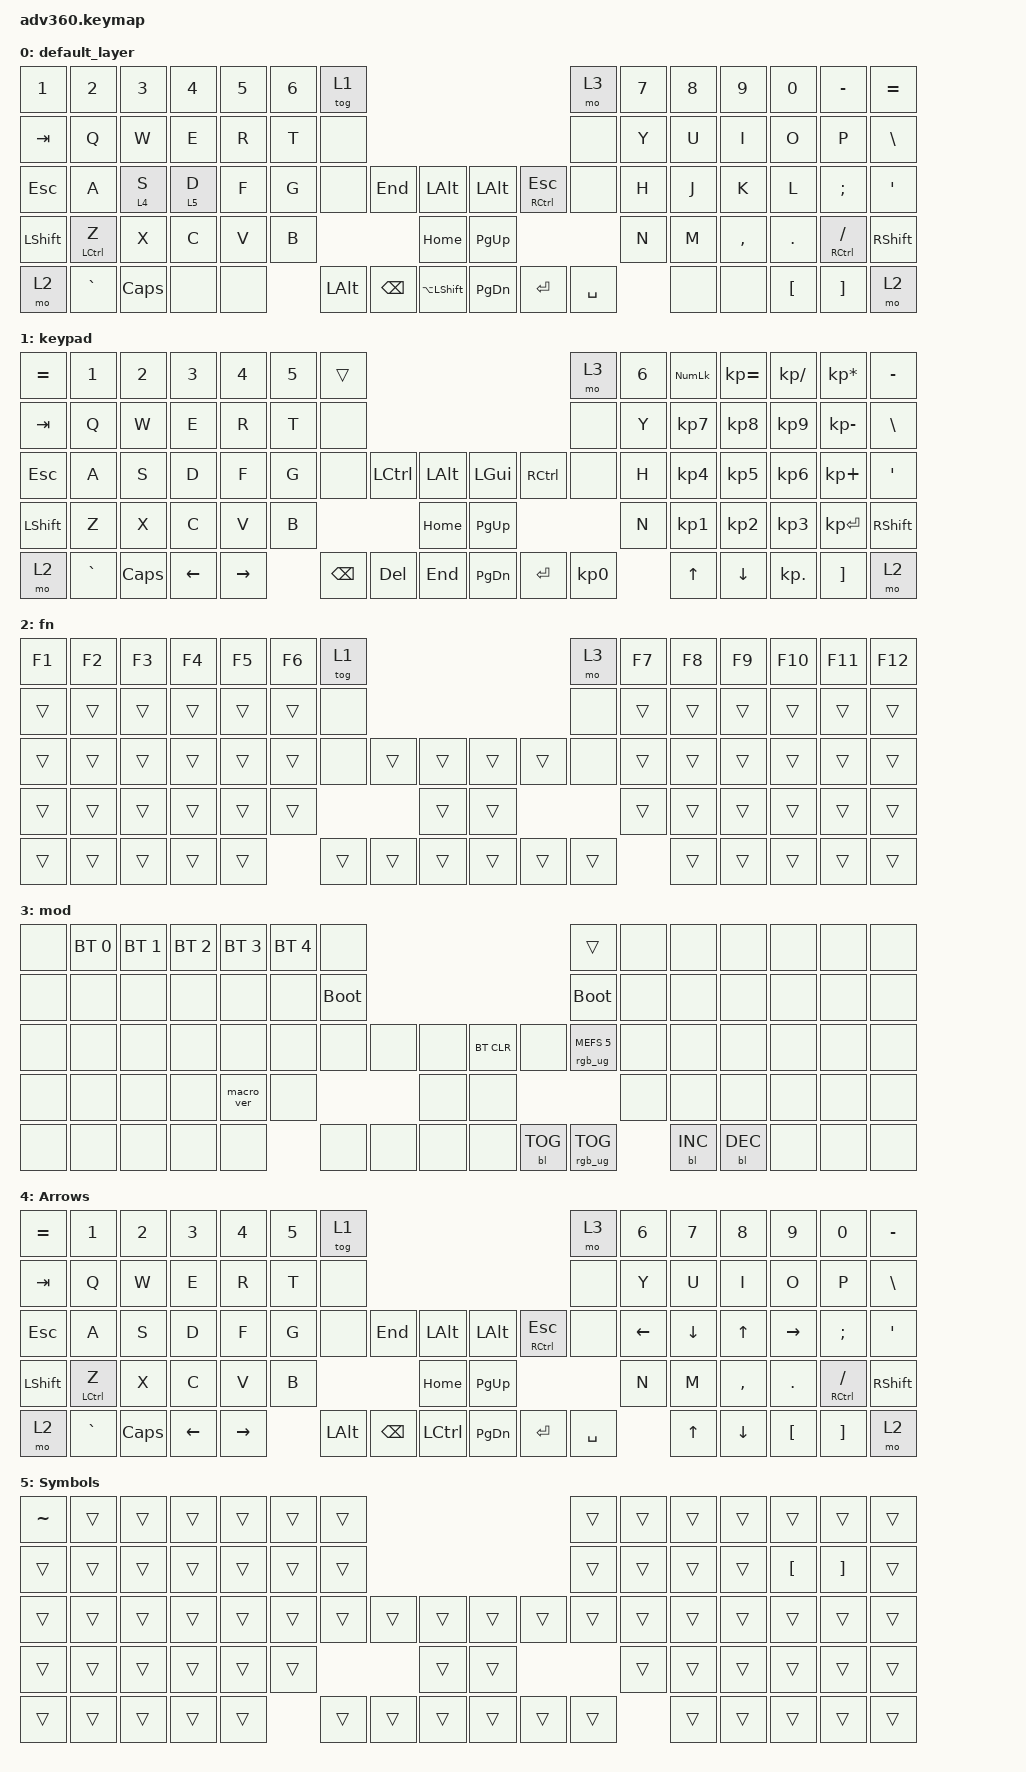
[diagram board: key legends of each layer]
#include <behaviors.dtsi>
#include <dt-bindings/zmk/backlight.h>
#include <dt-bindings/zmk/bt.h>
#include <dt-bindings/zmk/keys.h>
#include <dt-bindings/zmk/rgb.h>

/ {
    behaviors {
        #include "macros.dtsi"
      #include "version.dtsi"
      #ifndef VERSION_MACRO

        macro_ver: macro_ver {
            compatible = "zmk,behavior-macro";
            label = "macro_version";
            #binding-cells = <0>;
            bindings = <&kp RET>;
        };

        #endif

        hm: homerow_mods {
            compatible = "zmk,behavior-hold-tap";
            label = "HOMEROW_MODS";
            #binding-cells = <2>;
            tapping-term-ms = <200>;
            quick_tap_ms = <175>;
            flavor = "tap-preferred";
            bindings = <&kp>, <&kp>;
        };
    };

    macros {
    };

    keymap {
        compatible = "zmk,keymap";

        default_layer {
            bindings = <
&kp NUMBER_1  &kp NUMBER_2  &kp NUMBER_3  &kp NUMBER_4  &kp NUMBER_5  &kp NUMBER_6  &tog 1                                                                               &mo 3      &kp NUMBER_7  &kp NUMBER_8  &kp NUMBER_9  &kp N0    &kp MINUS       &kp EQUAL
&kp TAB       &kp Q         &kp W         &kp E         &kp R         &kp T         &none                                                                                &none      &kp Y         &kp U         &kp I         &kp O     &kp P           &kp BSLH
&kp ESC       &kp A         &lt 4 S       &lt 5 D       &kp F         &kp G         &none         &kp END        &kp LALT                &kp LEFT_ALT  &mt RCTRL ESCAPE  &none      &kp H         &kp J         &kp K         &kp L     &kp SEMI        &kp SQT
&kp LSHFT     &mt LCTRL Z   &kp X         &kp C         &kp V         &kp B                                      &kp HOME                &kp PG_UP                                  &kp N         &kp M         &kp COMMA     &kp DOT   &mt RCTRL FSLH  &kp RSHFT
&mo 2         &kp GRAVE     &kp CAPS      &none         &none                       &kp LEFT_ALT  &kp BACKSPACE  &kp LA(LEFT_SHIFT)      &kp PG_DN     &kp ENTER         &kp SPACE                &none         &none         &kp LBKT  &kp RBKT        &mo 2
            >;
        };

        keypad {
            bindings = <
&kp EQUAL  &kp N1     &kp N2    &kp N3    &kp N4     &kp N5  &trans                                                   &mo 3      &kp N6  &kp KP_NUM  &kp KP_EQUAL  &kp KP_DIVIDE  &kp KP_MULTIPLY  &kp MINUS
&kp TAB    &kp Q      &kp W     &kp E     &kp R      &kp T   &none                                                    &none      &kp Y   &kp KP_N7   &kp KP_N8     &kp KP_N9      &kp KP_MINUS     &kp BSLH
&kp ESC    &kp A      &kp S     &kp D     &kp F      &kp G   &none     &kp LCTRL  &kp LALT      &kp LGUI   &kp RCTRL  &none      &kp H   &kp KP_N4   &kp KP_N5     &kp KP_N6      &kp KP_PLUS      &kp SQT
&kp LSHFT  &kp Z      &kp X     &kp C     &kp V      &kp B                        &kp HOME      &kp PG_UP                        &kp N   &kp KP_N1   &kp KP_N2     &kp KP_N3      &kp KP_ENTER     &kp RSHFT
&mo 2      &kp GRAVE  &kp CAPS  &kp LEFT  &kp RIGHT          &kp BSPC  &kp DEL    &kp END       &kp PG_DN  &kp ENTER  &kp KP_N0          &kp UP      &kp DOWN      &kp KP_DOT     &kp RBKT         &mo 2
            >;
        };

        fn {
            bindings = <
&kp F1  &kp F2  &kp F3  &kp F4  &kp F5  &kp F6  &tog 1                                      &mo 3   &kp F7  &kp F8  &kp F9  &kp F10  &kp F11  &kp F12
&trans  &trans  &trans  &trans  &trans  &trans  &none                                       &none   &trans  &trans  &trans  &trans   &trans   &trans
&trans  &trans  &trans  &trans  &trans  &trans  &none   &trans  &trans      &trans  &trans  &none   &trans  &trans  &trans  &trans   &trans   &trans
&trans  &trans  &trans  &trans  &trans  &trans                  &trans      &trans                  &trans  &trans  &trans  &trans   &trans   &trans
&trans  &trans  &trans  &trans  &trans          &trans  &trans  &trans      &trans  &trans  &trans          &trans  &trans  &trans   &trans   &trans
            >;
        };

        mod {
            bindings = <
&none  &bt BT_SEL 0  &bt BT_SEL 1  &bt BT_SEL 2  &bt BT_SEL 3  &bt BT_SEL 4  &none                                                  &trans                  &none  &none       &none       &none  &none  &none
&none  &none         &none         &none         &none         &none         &bootloader                                            &bootloader             &none  &none       &none       &none  &none  &none
&none  &none         &none         &none         &none         &none         &none        &none  &none      &bt BT_CLR  &none       &rgb_ug RGB_MEFS_CMD 5  &none  &none       &none       &none  &none  &none
&none  &none         &none         &none         &macro_ver    &none                             &none      &none                                           &none  &none       &none       &none  &none  &none
&none  &none         &none         &none         &none                       &none        &none  &none      &none       &bl BL_TOG  &rgb_ug RGB_TOG                &bl BL_INC  &bl BL_DEC  &none  &none  &none
            >;
        };

        Arrows {
            bindings = <
&kp EQUAL  &kp N1       &kp N2    &kp N3    &kp N4     &kp N5  &tog 1                                                                      &mo 3      &kp N6    &kp N7    &kp N8     &kp N9     &kp N0          &kp MINUS
&kp TAB    &kp Q        &kp W     &kp E     &kp R      &kp T   &none                                                                       &none      &kp Y     &kp U     &kp I      &kp O      &kp P           &kp BSLH
&kp ESC    &kp A        &kp S     &kp D     &kp F      &kp G   &none         &kp END        &kp LALT       &kp LEFT_ALT  &mt RCTRL ESCAPE  &none      &kp LEFT  &kp DOWN  &kp UP     &kp RIGHT  &kp SEMI        &kp SQT
&kp LSHFT  &mt LCTRL Z  &kp X     &kp C     &kp V      &kp B                                &kp HOME       &kp PG_UP                                  &kp N     &kp M     &kp COMMA  &kp DOT    &mt RCTRL FSLH  &kp RSHFT
&mo 2      &kp GRAVE    &kp CAPS  &kp LEFT  &kp RIGHT          &kp LEFT_ALT  &kp BACKSPACE  &kp LCTRL      &kp PG_DN     &kp ENTER         &kp SPACE            &kp UP    &kp DOWN   &kp LBKT   &kp RBKT        &mo 2
            >;
        };

        Symbols {
            bindings = <
&kp TILDE  &trans  &trans  &trans  &trans  &trans  &trans                                      &trans  &trans  &trans  &trans  &trans            &trans             &trans
&trans     &trans  &trans  &trans  &trans  &trans  &trans                                      &trans  &trans  &trans  &trans  &kp LEFT_BRACKET  &kp RIGHT_BRACKET  &trans
&trans     &trans  &trans  &trans  &trans  &trans  &trans  &trans  &trans      &trans  &trans  &trans  &trans  &trans  &trans  &trans            &trans             &trans
&trans     &trans  &trans  &trans  &trans  &trans                  &trans      &trans                  &trans  &trans  &trans  &trans            &trans             &trans
&trans     &trans  &trans  &trans  &trans          &trans  &trans  &trans      &trans  &trans  &trans          &trans  &trans  &trans            &trans             &trans
            >;
        };
    };
};
